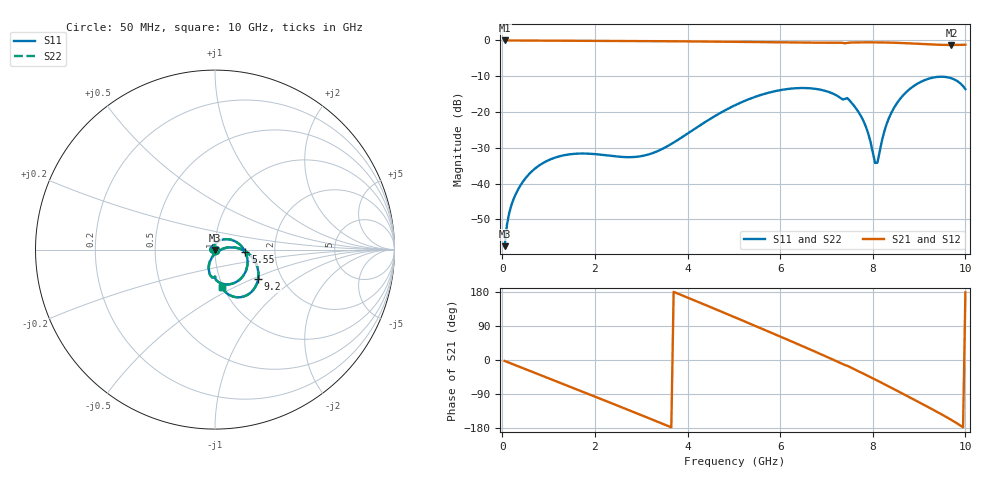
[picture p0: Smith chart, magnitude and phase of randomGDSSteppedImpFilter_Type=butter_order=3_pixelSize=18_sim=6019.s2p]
! freq	dB(S11)	phase(S11)	dB(S12)	phase(S12)
!  dB(S21)	phase(S21)	dB(S22)	phase(S22)
!S-par simulation data
#  GHz  S  DB  R 50
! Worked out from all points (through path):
!   200 points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, 50 MHz to 10 GHz, reference 50 ohm
!   highest |S21| = 0.00 dB at 50 MHz (marker M1); lowest = -1.3 dB at 9.7 GHz (marker M2)
!   group delay of S21, straight-line fit = 147 ps
!   lowest |S11| = -57.5 dB at 50 MHz (marker M3), VSWR 1.00, Z = 50 - j0.134 ohm
!   |S11| at or under -10 dB: start of sweep to end of sweep
!   |S22| runs from -57.5 to -10.1 dB; largest |S21 - S12| = 0
!   S11 on the Smith chart (normalised r, x): 50 MHz: 1.00, -0.00; 5.55 GHz: 1.41, -0.04; 9.2 GHz: 1.51, -0.55; 10 GHz: 0.99, -0.42
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0.05  -57.49 -88.4  -0.00 -2.4  -0.00 -2.4  -57.48 -88.3
0.1  -51.57 -91.5  -0.01 -4.9  -0.01 -4.9  -51.56 -91.5
0.2  -45.87 -96.4  -0.02 -9.7  -0.02 -9.7  -45.87 -96.4
0.55  -37.76 -117.3  -0.04 -26.5  -0.04 -26.5  -37.76 -117.3
1.2  -32.50 -151.0  -0.07 -57.9  -0.07 -57.9  -32.50 -150.8
1.75  -31.60 -179.5  -0.10 -84.4  -0.10 -84.4  -31.60 -179.1
2.5  -32.46 140.8  -0.14 -120.9  -0.14 -120.9  -32.48 141.6
3.4  -30.66 95.5  -0.21 -165.2  -0.21 -165.2  -30.68 96.3
4.2  -24.31 59.5  -0.28 154.7  -0.28 154.7  -24.32 59.8
5.05  -17.95 19.4  -0.39 111.3  -0.39 111.3  -17.95 19.5
5.55  -15.37 -5.1  -0.48 85.4  -0.48 85.4  -15.37 -5.1
6.1  -13.67 -32.4  -0.58 56.7  -0.58 56.7  -13.67 -32.6
6.7  -13.43 -62.4  -0.63 25.0  -0.63 25.0  -13.43 -62.7
7.55  -17.54 -103.7  -0.58 -21.3  -0.58 -21.3  -17.56 -104.4
7.85  -24.05 -112.7  -0.53 -39.3  -0.53 -39.3  -24.12 -114.3
8.05  -34.24 -71.7  -0.53 -51.4  -0.53 -51.4  -35.07 -73.8
8.1  -34.16 -32.6  -0.54 -54.5  -0.54 -54.5  -34.98 -30.3
8.35  -21.67 8.2  -0.59 -70.1  -0.59 -70.1  -21.71 9.5
8.7  -14.73 -6.2  -0.76 -92.3  -0.76 -92.3  -14.74 -5.6
9.2  -10.72 -34.6  -1.09 -124.5  -1.09 -124.5  -10.72 -34.2
9.7  -10.58 -64.1  -1.26 -158.3  -1.26 -158.3  -10.58 -63.9
10  -13.60 -79.9  -1.20 178.4  -1.20 178.4  -13.60 -79.8
